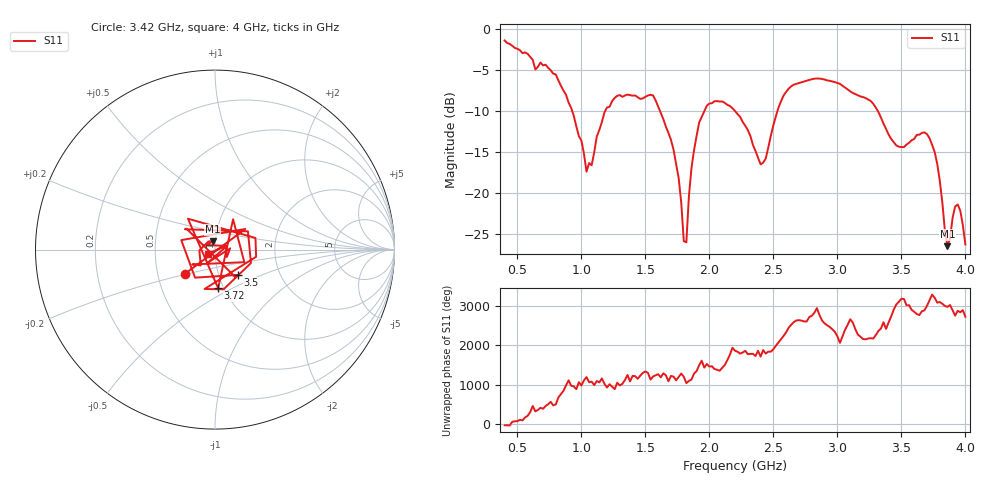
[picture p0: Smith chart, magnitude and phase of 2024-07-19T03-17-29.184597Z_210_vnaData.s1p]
!Created with skrf (http://scikit-rf.org).
# Hz S RI R 50.0
!freq ReS11 ImS11
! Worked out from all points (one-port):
!   181 points, 400 MHz to 4 GHz, reference 50 ohm
!   lowest |S11| = -26.5 dB at 3.86 GHz (marker M1), VSWR 1.10, Z = 48.6 + j4.45 ohm
!   |S11| at or under -10 dB: 1.615 GHz to 1.96 GHz (345.6 MHz wide, 19.3 % of centre); 2.201 GHz to 2.531 GHz (330.1 MHz wide, 14 % of centre); 3.317 GHz to end of sweep (the widest 3 of 4)
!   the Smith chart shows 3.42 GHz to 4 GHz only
!   S11 on the Smith chart (normalised r, x): 3.42 GHz: 0.69, -0.19; 3.5 GHz: 1.24, -0.36; 3.72 GHz: 0.94, -0.43; 4 GHz: 0.92, -0.05
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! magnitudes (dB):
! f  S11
! 400 MHz  -1.4
! 860 MHz  -7.5
! 1 GHz  -13.6
! 1.04 GHz  -17.4
! 1.18 GHz  -10.1
! 1.3 GHz  -8.0
! 1.56 GHz  -8.1
! 1.7 GHz  -13.5
! 1.76 GHz  -18.2
! 1.8 GHz  -25.9
! 1.82 GHz  -26.0
! 1.86 GHz  -17.0
! 1.92 GHz  -11.4
! 2.04 GHz  -8.8
! 2.2 GHz  -10.0
! 2.4 GHz  -16.5
! 2.56 GHz  -8.8
! 2.66 GHz  -6.8
! 3.1 GHz  -7.6
! 3.28 GHz  -9.1
! 3.42 GHz  -13.4
! 3.5 GHz  -14.4
! 3.56 GHz  -13.9
! 3.72 GHz  -13.3
! 3.78 GHz  -16.4
! 3.86 GHz  -26.5
! 3.94 GHz  -21.4
! 4 GHz  -26.3
